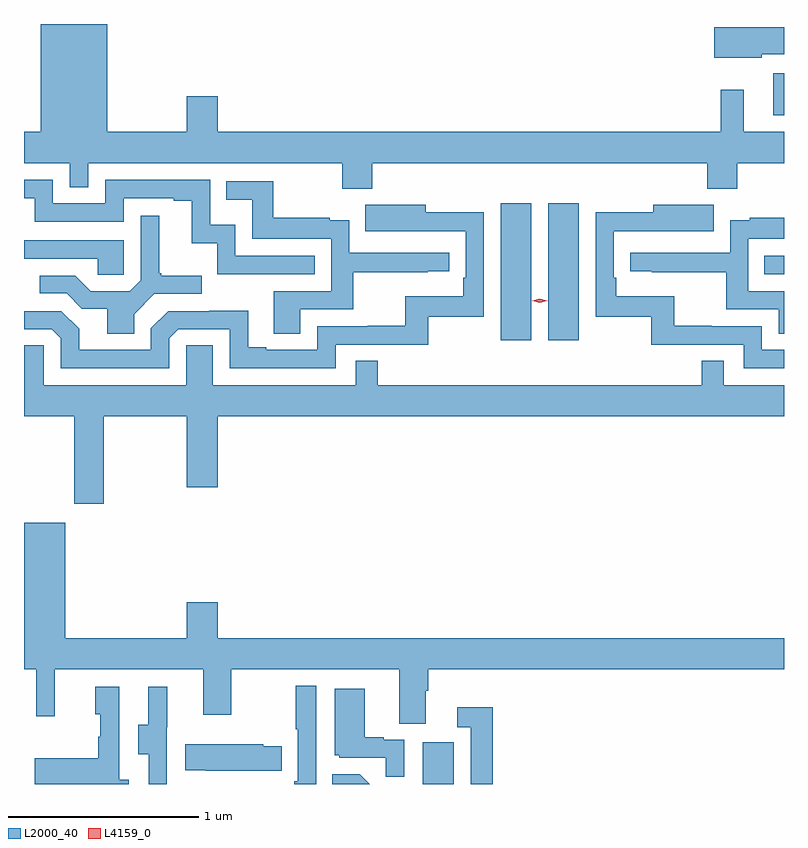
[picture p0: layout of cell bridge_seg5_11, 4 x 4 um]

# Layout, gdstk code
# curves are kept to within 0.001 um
import gdstk
lib = gdstk.Library(unit=1e-6, precision=1e-09)
def R(c, l, rs):  # rectangles x0, y0, x1, y1
    for r in rs: c.add(gdstk.rectangle(r[:2], r[2:], *l))
def P(c, l, *ps):  # polygons
    for p in ps: c.add(gdstk.Polygon(p, *l))
L2000_40 = (2000, 40)
L4159_0 = (4159, 0)

bridge_seg5_11 = lib.new_cell('bridge_seg5_11')
R(bridge_seg5_11, L2000_40, [(1113.302,850.828,1113.466,851.047), (1113.713,853.164,1113.874,853.885), (1113.962,853.164,1114.123,853.885), (1115.101,853.512,1115.204,853.608), (1115.147,854.349,1115.204,854.568)])
P(bridge_seg5_11, L2000_40, [(1113.038,854.096),(1114.799,854.096),(1114.799,853.961),(1114.959,853.961),(1114.959,854.096),(1115.204,854.096),(1115.204,854.26),(1114.993,854.26),(1114.993,854.482),(1114.872,854.482),(1114.872,854.26),(1112.224,854.26),(1112.224,854.449),(1112.06,854.449),(1112.06,854.26),(1111.642,854.26),(1111.642,854.828),(1111.292,854.828),(1111.292,854.26),(1111.204,854.26),(1111.204,854.096),(1111.446,854.096),(1111.446,853.969),(1111.542,853.969),(1111.542,854.096),(1112.878,854.096),(1112.878,853.961),(1113.038,853.961)],
  [(1115.088,854.669),(1115.204,854.669),(1115.204,854.812),(1114.838,854.812),(1114.838,854.651),(1115.088,854.651)],
  [(1112.735,853.608),(1112.316,853.608),(1112.316,853.771),(1112.184,853.771),(1112.184,854.007),(1111.632,854.007),(1111.632,853.884),(1111.356,853.884),(1111.356,854.007),(1111.204,854.007),(1111.204,853.911),(1111.26,853.911),(1111.26,853.788),(1111.728,853.788),(1111.728,853.911),(1111.991,853.911),(1111.991,853.899),(1112.087,853.899),(1112.087,853.673),(1112.22,853.673),(1112.22,853.512),(1112.735,853.512)],
  [(1112.659,853.326),(1112.936,853.326),(1112.936,853.522),(1113.329,853.522),(1113.329,853.527),(1113.442,853.527),(1113.442,853.623),(1112.916,853.623),(1112.916,853.795),(1112.813,853.795),(1112.813,853.807),(1112.515,853.807),(1112.515,854.001),(1112.269,854.001),(1112.269,853.904),(1112.404,853.904),(1112.404,853.698),(1112.82,853.698),(1112.82,853.422),(1112.519,853.422),(1112.519,853.198),(1112.659,853.198)],
  [(1115.204,853.113),(1115.088,853.113),(1115.088,853.236),(1114.823,853.236),(1114.823,853.241),(1114.627,853.241),(1114.627,853.396),(1114.322,853.396),(1114.322,853.492),(1114.308,853.492),(1114.308,853.737),(1114.621,853.737),(1114.621,853.736),(1114.835,853.736),(1114.835,853.876),(1114.517,853.876),(1114.517,853.838),(1114.212,853.838),(1114.212,853.287),(1114.506,853.287),(1114.506,853.14),(1114.992,853.14),(1114.992,853.017),(1115.204,853.017)],
  [(1111.968,853.173),(1112.016,853.221),(1112.286,853.221),(1112.286,853.017),(1112.844,853.017),(1112.844,853.14),(1113.331,853.14),(1113.331,853.287),(1113.624,853.287),(1113.624,853.838),(1113.319,853.838),(1113.319,853.876),(1113.001,853.876),(1113.001,853.736),(1113.528,853.737),(1113.528,853.492),(1113.515,853.492),(1113.515,853.396),(1113.21,853.396),(1113.21,853.241),(1113.013,853.241),(1113.013,853.236),(1112.748,853.236),(1112.748,853.113),(1112.479,853.113),(1112.479,853.126),(1112.383,853.126),(1112.383,853.319),(1112.178,853.319),(1112.178,853.317),(1111.962,853.317),(1111.872,853.227),(1111.872,853.113),(1111.495,853.113),(1111.495,853.223),(1111.401,853.317),(1111.204,853.317),(1111.204,853.221),(1111.35,853.221),(1111.398,853.173),(1111.398,853.017),(1111.968,853.017)],
  [(1111.783,853.3),(1111.89,853.407),(1112.14,853.407),(1112.14,853.504),(1111.927,853.504),(1111.927,853.516),(1111.915,853.516),(1111.915,853.819),(1111.818,853.819),(1111.818,853.479),(1111.761,853.422),(1111.555,853.422),(1111.474,853.503),(1111.287,853.503),(1111.287,853.41),(1111.428,853.41),(1111.508,853.33),(1111.643,853.33),(1111.643,853.198),(1111.783,853.198)],
  [(1115.204,853.422),(1115.016,853.422),(1115.016,853.698),(1115.204,853.698),(1115.204,853.807),(1115.023,853.807),(1115.023,853.795),(1114.92,853.795),(1114.92,853.623),(1114.395,853.623),(1114.395,853.527),(1114.507,853.527),(1114.507,853.522),(1114.9,853.522),(1114.9,853.326),(1115.177,853.326),(1115.177,853.198),(1115.204,853.198)],
  [(1111.728,853.689),(1111.204,853.689),(1111.204,853.593),(1111.591,853.593),(1111.591,853.509),(1111.728,853.509)],
  [(1115.204,852.928),(1114.887,852.928),(1114.887,853.055),(1114.771,853.055),(1114.771,852.928),(1113.065,852.928),(1113.065,853.055),(1112.949,853.055),(1112.949,852.928),(1112.197,852.928),(1112.197,853.136),(1112.058,853.136),(1112.058,852.928),(1111.308,852.928),(1111.308,853.136),(1111.204,853.136),(1111.204,852.764),(1111.468,852.764),(1111.468,852.303),(1111.623,852.303),(1111.623,852.764),(1112.06,852.764),(1112.06,852.39),(1112.224,852.39),(1112.224,852.764),(1115.204,852.764)],
  [(1113.319,851.32),(1113.332,851.32),(1113.332,851.432),(1115.204,851.432),(1115.204,851.596),(1112.224,851.596),(1112.224,851.785),(1112.06,851.785),(1112.06,851.596),(1111.42,851.596),(1111.42,852.202),(1111.204,852.202),(1111.204,851.432),(1111.269,851.432),(1111.269,851.184),(1111.367,851.184),(1111.367,851.432),(1112.147,851.432),(1112.147,851.193),(1112.295,851.193),(1112.295,851.432),(1113.179,851.432),(1113.179,851.146),(1113.319,851.146)],
  [(1112.742,851.344),(1112.634,851.344),(1112.634,851.116),(1112.646,851.116),(1112.646,850.843),(1112.626,850.843),(1112.626,850.828),(1112.742,850.828)],
  [(1111.956,851.127),(1111.958,851.127),(1111.958,851.341),(1111.859,851.341),(1111.859,851.139),(1111.805,851.139),(1111.805,850.984),(1111.86,850.984),(1111.86,850.828),(1111.956,850.828)],
  [(1111.756,850.85),(1111.704,850.85),(1111.704,851.341),(1111.58,851.341),(1111.58,851.196),(1111.606,851.196),(1111.606,851.078),(1111.596,851.078),(1111.596,850.963),(1111.261,850.963),(1111.261,850.828),(1111.756,850.828)],
  [(1113.204,851.061),(1113.098,851.061),(1113.098,851.074),(1112.998,851.074),(1112.998,851.329),(1112.84,851.329),(1112.84,850.98),(1112.862,850.98),(1112.862,850.965),(1113.109,850.965),(1113.109,850.867),(1113.204,850.867)],
  [(1113.671,851.233),(1113.483,851.233),(1113.483,851.127),(1113.555,851.127),(1113.555,850.828),(1113.671,850.828)],
  [(1112.561,851.028),(1112.463,851.028),(1112.463,851.038),(1112.053,851.038),(1112.053,850.901),(1112.161,850.901),(1112.161,850.898),(1112.561,850.898)],
  [(1112.971,850.88),(1112.827,850.88),(1112.827,850.828),(1113.023,850.828)])
P(bridge_seg5_11, L4159_0, [(1113.918,853.362),(1113.878,853.372),(1113.878,853.372),(1113.878,853.372),(1113.918,853.382),(1113.958,853.372),(1113.958,853.372),(1113.958,853.372)])

lib.write_gds('bridge_seg5_11.gds')
